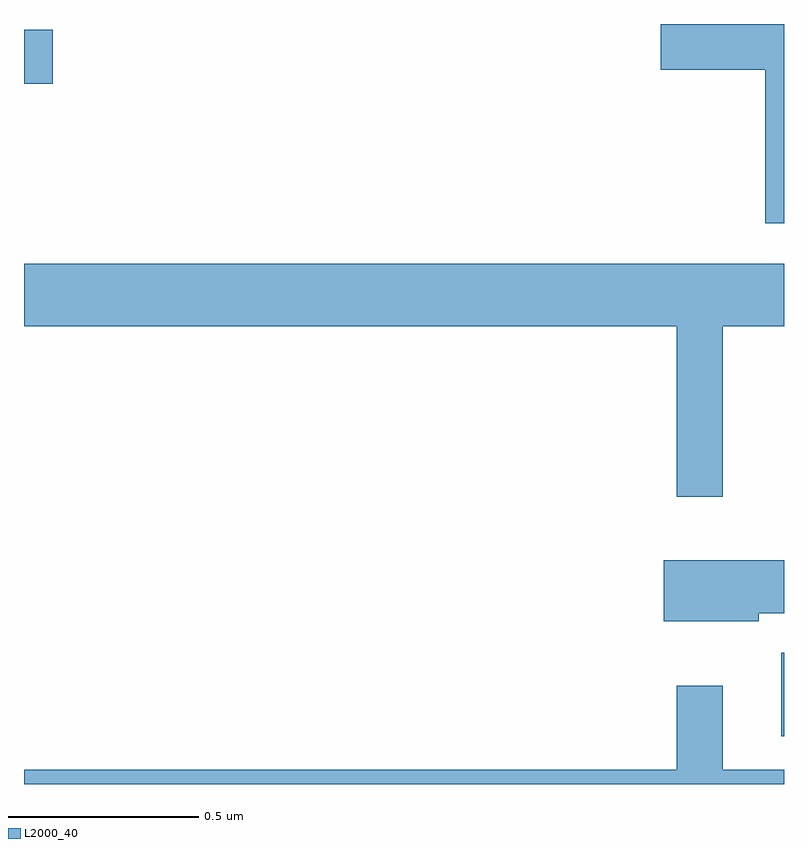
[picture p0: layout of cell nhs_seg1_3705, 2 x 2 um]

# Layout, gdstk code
import gdstk
lib = gdstk.Library(unit=1e-6, precision=1e-09)
def R(c, l, rs):  # rectangles x0, y0, x1, y1
    for r in rs: c.add(gdstk.rectangle(r[:2], r[2:], *l))
def P(c, l, *ps):  # polygons
    for p in ps: c.add(gdstk.Polygon(p, *l))
L2000_40 = (2000, 40)

nhs_seg1_3705 = lib.new_cell('nhs_seg1_3705')
R(nhs_seg1_3705, L2000_40, [(158.993,545.325,159,545.544), (157,547.042,157.075,547.184)])
P(nhs_seg1_3705, L2000_40, [(159,547.199),(158.676,547.199),(158.676,547.079),(158.951,547.079),(158.951,546.675),(159,546.675)],
  [(158.839,546.404),(159,546.404),(159,546.568),(157,546.568),(157,546.404),(158.718,546.404),(158.718,545.955),(158.839,545.955)],
  [(158.934,545.648),(159,545.648),(159,545.788),(158.684,545.788),(158.684,545.627),(158.934,545.627)],
  [(159,545.236),(158.839,545.236),(158.839,545.458),(158.718,545.458),(158.718,545.236),(157,545.236),(157,545.199),(159,545.199)])

lib.write_gds('nhs_seg1_3705.gds')
